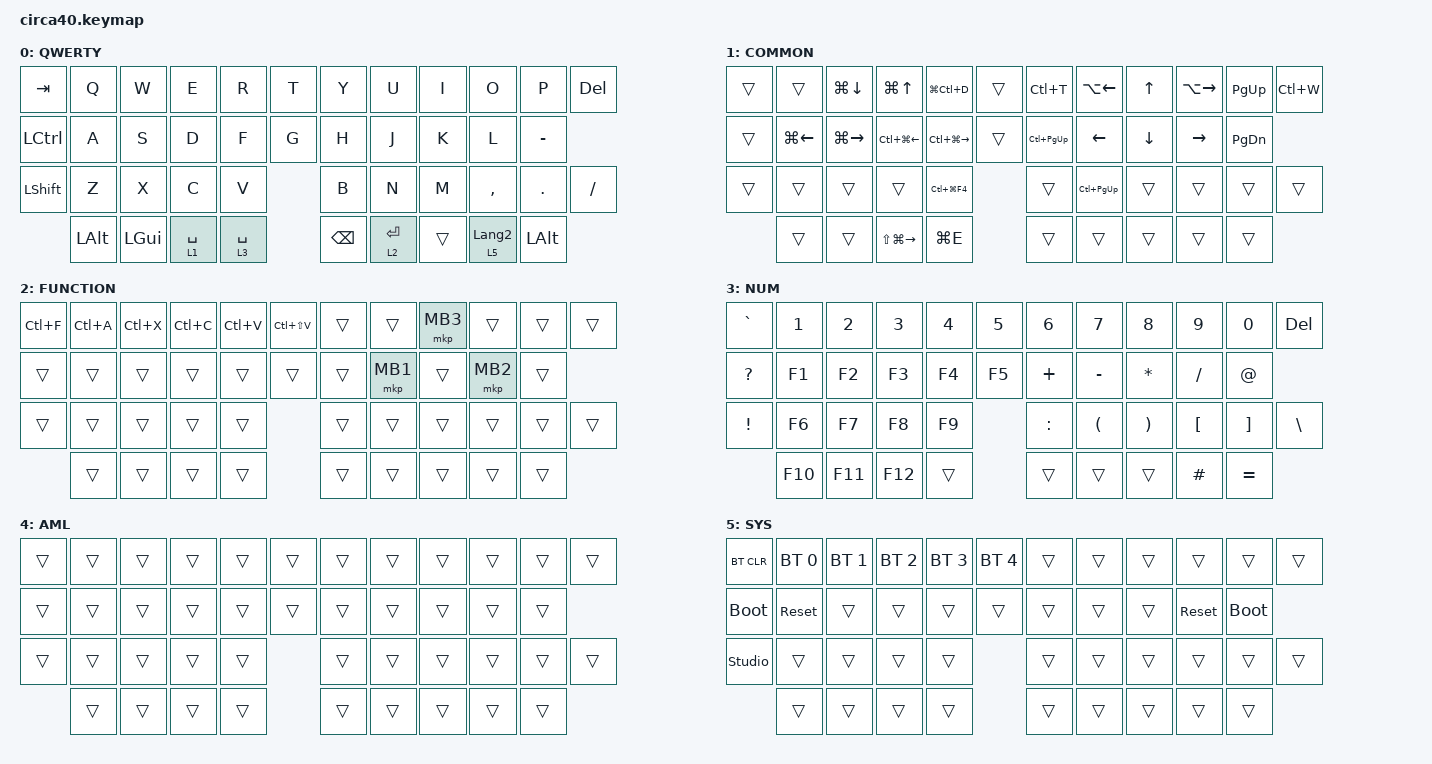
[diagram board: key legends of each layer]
#include <behaviors.dtsi>
#include <dt-bindings/zmk/bt.h>
#include <dt-bindings/zmk/keys.h>
#include <dt-bindings/zmk/pointing.h>

/ {
    combos {
        compatible = "zmk,combos";

        lang1 {
            bindings = <&kp LANGUAGE_1>;
            key-positions = <15 16>;
        };

        lang2 {
            bindings = <&kp LANGUAGE_2>;
            key-positions = <19 20>;
        };

        Escape {
            bindings = <&kp ESCAPE>;
            key-positions = <1 2>;
        };
    };

    keymap {
        compatible = "zmk,keymap";

        base {
            display-name = "QWERTY";
            bindings = <
&kp TAB    &kp Q         &kp W     &kp E        &kp R        &kp T    &kp Y          &kp U        &kp I   &kp O             &kp P         &kp DEL
&kp LCTRL  &kp A         &kp S     &kp D        &kp F        &kp G    &kp H          &kp J        &kp K   &kp L             &kp MINUS
&kp LSHFT  &kp Z         &kp X     &kp C        &kp V                 &kp B          &kp N        &kp M   &kp COMMA         &kp DOT       &kp SLASH
           &kp LEFT_ALT  &kp LGUI  &lt 1 SPACE  &lt 3 SPACE           &kp BACKSPACE  &lt 2 ENTER  &trans  &lt 5 LANGUAGE_2  &kp LEFT_ALT
            >;
        };

        COMMON {
            bindings = <
&trans  &trans              &kp LG(DOWN_ARROW)   &kp LG(UP_ARROW)         &kp LG(LC(D))            &trans    &kp LC(T)        &kp LA(LEFT_ARROW)  &kp UP_ARROW    &kp LA(RIGHT_ARROW)  &kp PAGE_UP    &kp LC(W)
&trans  &kp LG(LEFT_ARROW)  &kp LG(RIGHT_ARROW)  &kp LC(LG(LEFT_ARROW))   &kp LC(LG(RIGHT_ARROW))  &trans    &kp LC(PAGE_UP)  &kp LEFT_ARROW      &kp DOWN_ARROW  &kp RIGHT_ARROW      &kp PAGE_DOWN
&trans  &trans              &trans               &trans                   &kp LC(LG(F4))                     &trans           &kp LC(PAGE_UP)     &trans          &trans               &trans         &trans
        &trans              &trans               &kp LS(LG(RIGHT_ARROW))  &kp LG(E)                          &trans           &trans              &trans          &trans               &trans
            >;
        };

        FUNCTION {
            bindings = <
&kp LC(F)  &kp LC(A)  &kp LC(X)  &kp LC(C)  &kp LC(V)  &kp LC(LS(V))    &trans  &trans    &mkp MB3  &trans    &trans  &trans
&trans     &trans     &trans     &trans     &trans     &trans           &trans  &mkp MB1  &trans    &mkp MB2  &trans
&trans     &trans     &trans     &trans     &trans                      &trans  &trans    &trans    &trans    &trans  &trans
           &trans     &trans     &trans     &trans                      &trans  &trans    &trans    &trans    &trans
            >;
        };

        numbers {
            display-name = "NUM";
            bindings = <
&kp GRAVE        &kp N1   &kp N2   &kp N3   &kp N4  &kp N5    &kp N6     &kp N7                &kp N8                 &kp N9     &kp N0       &kp DEL
&kp QUESTION     &kp F1   &kp F2   &kp F3   &kp F4  &kp F5    &kp PLUS   &kp MINUS             &kp ASTRK              &kp SLASH  &kp AT_SIGN
&kp EXCLAMATION  &kp F6   &kp F7   &kp F8   &kp F9            &kp COLON  &kp LEFT_PARENTHESIS  &kp RIGHT_PARENTHESIS  &kp LBKT   &kp RBKT     &kp BSLH
                 &kp F10  &kp F11  &kp F12  &trans            &trans     &trans                &trans                 &kp HASH   &kp EQUAL
            >;
        };

        AML {
            bindings = <
&trans  &trans  &trans  &trans  &trans  &trans    &trans  &trans  &trans  &trans  &trans  &trans
&trans  &trans  &trans  &trans  &trans  &trans    &trans  &trans  &trans  &trans  &trans
&trans  &trans  &trans  &trans  &trans            &trans  &trans  &trans  &trans  &trans  &trans
        &trans  &trans  &trans  &trans            &trans  &trans  &trans  &trans  &trans
            >;
        };

        system {
            display-name = "SYS";
            bindings = <
&bt BT_CLR      &bt BT_SEL 0  &bt BT_SEL 1  &bt BT_SEL 2  &bt BT_SEL 3  &bt BT_SEL 4    &trans  &trans  &trans  &trans      &trans       &trans
&bootloader     &sys_reset    &trans        &trans        &trans        &trans          &trans  &trans  &trans  &sys_reset  &bootloader
&studio_unlock  &trans        &trans        &trans        &trans                        &trans  &trans  &trans  &trans      &trans       &trans
                &trans        &trans        &trans        &trans                        &trans  &trans  &trans  &trans      &trans
            >;
        };
    };
};
